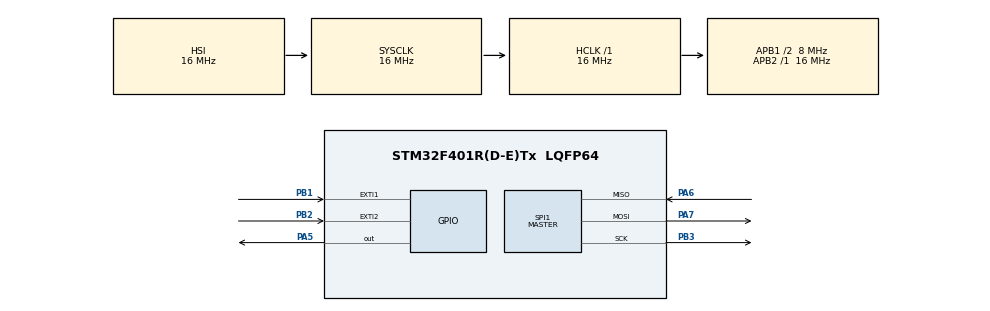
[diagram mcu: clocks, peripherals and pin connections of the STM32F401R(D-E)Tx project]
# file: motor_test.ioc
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Mcu.Family=STM32F4
Mcu.Name=STM32F401R(D-E)Tx
Mcu.Package=LQFP64
NVIC.EXTI1_IRQn=true\:0\:0\:false\:false\:true\:true\:true\:true
NVIC.EXTI2_IRQn=true\:0\:0\:false\:false\:true\:true\:true\:true
NVIC.PriorityGroup=NVIC_PRIORITYGROUP_4
NVIC.TIM2_IRQn=true\:0\:0\:false\:false\:true\:true\:true\:true
PA5.Signal=GPIO_Output
PA6.Mode=Full_Duplex_Master
PA6.Signal=SPI1_MISO
PA7.Mode=Full_Duplex_Master
PA7.Signal=SPI1_MOSI
PB1.GPIO_PuPd=GPIO_PULLUP
PB1.Signal=GPXTI1
PB2.GPIO_PuPd=GPIO_PULLUP
PB2.Signal=GPXTI2
PB3.Mode=Full_Duplex_Master
PB3.Signal=SPI1_SCK
ProjectManager.HeapSize=0x200
ProjectManager.StackSize=0x400
ProjectManager.TargetToolchain=STM32CubeIDE
RCC.48MHZClocksFreq_Value=36000000
RCC.AHBFreq_Value=16000000
RCC.APB1CLKDivider=RCC_HCLK_DIV2
RCC.APB1Freq_Value=8000000
RCC.APB1TimFreq_Value=16000000
RCC.APB2Freq_Value=16000000
RCC.APB2TimFreq_Value=16000000
RCC.CortexFreq_Value=16000000
RCC.HCLKFreq_Value=16000000
RCC.HSE_VALUE=25000000
RCC.HSI_VALUE=16000000
RCC.LSE_VALUE=32768
RCC.PLLM=8
RCC.PLLN=72
RCC.SYSCLKFreq_VALUE=16000000
RCC.VCOOutputFreq_Value=144000000
SPI1.BaudRatePrescaler=SPI_BAUDRATEPRESCALER_16
SPI1.CLKPhase=SPI_PHASE_1EDGE
SPI1.CLKPolarity=SPI_POLARITY_LOW
SPI1.Direction=SPI_DIRECTION_2LINES
SPI1.Mode=SPI_MODE_MASTER
SPI1.VirtualType=VM_MASTER
TIM2.AutoReloadPreload=TIM_AUTORELOAD_PRELOAD_ENABLE
TIM2.Period=100
TIM2.Prescaler=16000
VP_TIM2_VS_ClockSourceINT.Mode=Internal
board=custom

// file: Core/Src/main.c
/* USER CODE BEGIN Header */
/**
  ******************************************************************************
  * @file           : main.c
  * @brief          : Main program body
  ******************************************************************************
  * @attention
  *
  * Copyright (c) 2023 STMicroelectronics.
  * All rights reserved.
  *
  * This software is licensed under terms that can be found in the LICENSE file
  * in the root directory of this software component.
  * If no LICENSE file comes with this software, it is provided AS-IS.
  *
  ******************************************************************************
  */
/* USER CODE END Header */
#include "main.h"

/* USER CODE BEGIN Includes */
#include "l6474.h"
#include "x_nucleo_ihmxx.h"
#include "x_nucleo_ihm01a1_stm32f4xx.h"
/* USER CODE END Includes */

SPI_HandleTypeDef hspi1;

TIM_HandleTypeDef htim2;

void SystemClock_Config(void);
static void MX_GPIO_Init(void);
static void MX_TIM2_Init(void);
static void MX_SPI1_Init(void);
/* USER CODE BEGIN PFP */
void MyFlagInterruptHandler(void);
void ErrorHandler_Shield(uint16_t error);
/* USER CODE END PFP */

/* USER CODE BEGIN 0 */
static volatile uint16_t gLastError;

L6474_Init_t gL6474InitParams =
{
    160,                               /// Acceleration rate in step/s2. Range: (0..+inf).
    160,                               /// Deceleration rate in step/s2. Range: (0..+inf).
    30,                              /// Maximum speed in step/s. Range: (30..10000].
    30,                               ///Minimum speed in step/s. Range: [30..10000).
    250,                               ///Torque regulation current in mA. (TVAL register) Range: 31.25mA to 4000mA.
    750,                               ///Overcurrent threshold (OCD_TH register). Range: 375mA to 6000mA.
    L6474_CONFIG_OC_SD_ENABLE,         ///Overcurrent shutwdown (OC_SD field of CONFIG register).
    L6474_CONFIG_EN_TQREG_TVAL_USED,   /// Torque regulation method (EN_TQREG field of CONFIG register).
	L6474_STEP_SEL_1,//L6474_STEP_SEL_1_16,               /// Step selection (STEP_SEL field of STEP_MODE register).
    L6474_SYNC_SEL_1_2,                /// Sync selection (SYNC_SEL field of STEP_MODE register).
    L6474_FAST_STEP_12us,              /// Fall time value (T_FAST field of T_FAST register). Range: 2us to 32us.
    L6474_TOFF_FAST_8us,               /// Maximum fast decay time (T_OFF field of T_FAST register). Range: 2us to 32us.
    3,                                 /// Minimum ON time in us (TON_MIN register). Range: 0.5us to 64us.
    21,                                /// Minimum OFF time in us (TOFF_MIN register). Range: 0.5us to 64us.
    L6474_CONFIG_TOFF_044us,           /// Target Swicthing Period (field TOFF of CONFIG register).
    L6474_CONFIG_SR_320V_us,           /// Slew rate (POW_SR field of CONFIG register).
    L6474_CONFIG_INT_16MHZ,            /// Clock setting (OSC_CLK_SEL field of CONFIG register).
    (L6474_ALARM_EN_OVERCURRENT      |
     L6474_ALARM_EN_THERMAL_SHUTDOWN |
     L6474_ALARM_EN_THERMAL_WARNING  |
     L6474_ALARM_EN_UNDERVOLTAGE     |
     L6474_ALARM_EN_SW_TURN_ON       |
     L6474_ALARM_EN_WRONG_NPERF_CMD)    /// Alarm (ALARM_EN register).
};

/* USER CODE END 0 */

int main(void)
{

  /* MCU Configuration--------------------------------------------------------*/

  /* Reset of all peripherals, Initializes the Flash interface and the Systick. */
  HAL_Init();

  /* Configure the system clock */
  SystemClock_Config();

  /* Initialize all configured peripherals */
  MX_GPIO_Init();
  MX_TIM2_Init();
  MX_SPI1_Init();
  /* USER CODE BEGIN 2 */
  BSP_MotorControl_SetNbDevices(BSP_MOTOR_CONTROL_BOARD_ID_L6474, 1);         //Number of motors
  BSP_MotorControl_Init(BSP_MOTOR_CONTROL_BOARD_ID_L6474, &gL6474InitParams); //Initial parameters
  BSP_MotorControl_AttachFlagInterrupt(MyFlagInterruptHandler);               //Flag interrupt handler
  BSP_MotorControl_AttachErrorHandler(ErrorHandler_Shield);                   //Error handler

  BSP_MotorControl_Move(0, BACKWARD, 16000);
  /* USER CODE END 2 */

  /* Infinite loop */
  /* USER CODE BEGIN WHILE */
  while (1)
  {
	  BSP_MotorControl_Move(0, FORWARD, 50);

	  // Wait for the motor of device 0 ends moving
	  BSP_MotorControl_WaitWhileActive(0);

	  // Wait for 2 seconds
	  HAL_Delay(2000);

	  // Move device 0 in the BACKWARD direction
	  BSP_MotorControl_Move(0, BACKWARD, 50);

	  // Wait for the motor of device 0 ends moving
	  BSP_MotorControl_WaitWhileActive(0);
    /* USER CODE END WHILE */

  }
}

void SystemClock_Config(void)
{
  RCC_OscInitTypeDef RCC_OscInitStruct = {0};
  RCC_ClkInitTypeDef RCC_ClkInitStruct = {0};

  /** Configure the main internal regulator output voltage
  */
  __HAL_RCC_PWR_CLK_ENABLE();
  __HAL_PWR_VOLTAGESCALING_CONFIG(PWR_REGULATOR_VOLTAGE_SCALE2);

  /** Initializes the RCC Oscillators according to the specified parameters
  * in the RCC_OscInitTypeDef structure.
  */
  RCC_OscInitStruct.OscillatorType = RCC_OSCILLATORTYPE_HSI;
  RCC_OscInitStruct.HSIState = RCC_HSI_ON;
  RCC_OscInitStruct.HSICalibrationValue = RCC_HSICALIBRATION_DEFAULT;
  RCC_OscInitStruct.PLL.PLLState = RCC_PLL_NONE;
  if (HAL_RCC_OscConfig(&RCC_OscInitStruct) != HAL_OK)
  {
    Error_Handler();
  }

  /** Initializes the CPU, AHB and APB buses clocks
  */
  RCC_ClkInitStruct.ClockType = RCC_CLOCKTYPE_HCLK|RCC_CLOCKTYPE_SYSCLK
                              |RCC_CLOCKTYPE_PCLK1|RCC_CLOCKTYPE_PCLK2;
  RCC_ClkInitStruct.SYSCLKSource = RCC_SYSCLKSOURCE_HSI;
  RCC_ClkInitStruct.AHBCLKDivider = RCC_SYSCLK_DIV1;
  RCC_ClkInitStruct.APB1CLKDivider = RCC_HCLK_DIV2;
  RCC_ClkInitStruct.APB2CLKDivider = RCC_HCLK_DIV1;

  if (HAL_RCC_ClockConfig(&RCC_ClkInitStruct, FLASH_LATENCY_0) != HAL_OK)
  {
    Error_Handler();
  }
}

static void MX_SPI1_Init(void)
{

  /* SPI1 parameter configuration*/
  hspi1.Instance = SPI1;
  hspi1.Init.Mode = SPI_MODE_MASTER;
  hspi1.Init.Direction = SPI_DIRECTION_2LINES;
  hspi1.Init.DataSize = SPI_DATASIZE_8BIT;
  hspi1.Init.CLKPolarity = SPI_POLARITY_LOW;
  hspi1.Init.CLKPhase = SPI_PHASE_1EDGE;
  hspi1.Init.NSS = SPI_NSS_SOFT;
  hspi1.Init.BaudRatePrescaler = SPI_BAUDRATEPRESCALER_16;
  hspi1.Init.FirstBit = SPI_FIRSTBIT_MSB;
  hspi1.Init.TIMode = SPI_TIMODE_DISABLE;
  hspi1.Init.CRCCalculation = SPI_CRCCALCULATION_DISABLE;
  hspi1.Init.CRCPolynomial = 10;
  if (HAL_SPI_Init(&hspi1) != HAL_OK)
  {
    Error_Handler();
  }

}

static void MX_TIM2_Init(void)
{

  TIM_ClockConfigTypeDef sClockSourceConfig = {0};
  TIM_MasterConfigTypeDef sMasterConfig = {0};

  htim2.Instance = TIM2;
  htim2.Init.Prescaler = 16000;
  htim2.Init.CounterMode = TIM_COUNTERMODE_UP;
  htim2.Init.Period = 100;
  htim2.Init.ClockDivision = TIM_CLOCKDIVISION_DIV1;
  htim2.Init.AutoReloadPreload = TIM_AUTORELOAD_PRELOAD_ENABLE;
  if (HAL_TIM_Base_Init(&htim2) != HAL_OK)
  {
    Error_Handler();
  }
  sClockSourceConfig.ClockSource = TIM_CLOCKSOURCE_INTERNAL;
  if (HAL_TIM_ConfigClockSource(&htim2, &sClockSourceConfig) != HAL_OK)
  {
    Error_Handler();
  }
  sMasterConfig.MasterOutputTrigger = TIM_TRGO_RESET;
  sMasterConfig.MasterSlaveMode = TIM_MASTERSLAVEMODE_DISABLE;
  if (HAL_TIMEx_MasterConfigSynchronization(&htim2, &sMasterConfig) != HAL_OK)
  {
    Error_Handler();
  }

}

static void MX_GPIO_Init(void)
{
  GPIO_InitTypeDef GPIO_InitStruct = {0};

  /* GPIO Ports Clock Enable */
  __HAL_RCC_GPIOA_CLK_ENABLE();
  __HAL_RCC_GPIOB_CLK_ENABLE();

  /*Configure GPIO pin Output Level */
  HAL_GPIO_WritePin(GPIOA, GPIO_PIN_5, GPIO_PIN_RESET);

  /*Configure GPIO pin : PA5 */
  GPIO_InitStruct.Pin = GPIO_PIN_5;
  GPIO_InitStruct.Mode = GPIO_MODE_OUTPUT_PP;
  GPIO_InitStruct.Pull = GPIO_NOPULL;
  GPIO_InitStruct.Speed = GPIO_SPEED_FREQ_LOW;
  HAL_GPIO_Init(GPIOA, &GPIO_InitStruct);

  /*Configure GPIO pins : PB1 PB2 */
  GPIO_InitStruct.Pin = GPIO_PIN_1|GPIO_PIN_2;
  GPIO_InitStruct.Mode = GPIO_MODE_IT_RISING;
  GPIO_InitStruct.Pull = GPIO_PULLUP;
  HAL_GPIO_Init(GPIOB, &GPIO_InitStruct);

  /* EXTI interrupt init*/
  HAL_NVIC_SetPriority(EXTI1_IRQn, 0, 0);
  HAL_NVIC_EnableIRQ(EXTI1_IRQn);

  HAL_NVIC_SetPriority(EXTI2_IRQn, 0, 0);
  HAL_NVIC_EnableIRQ(EXTI2_IRQn);

}

/* USER CODE BEGIN 4 */
void HAL_GPIO_EXTI_Callback(uint16_t GPIO_Pin){

	if(GPIO_Pin == GPIO_PIN_2){ //Final de carrera de la izquierda
		BSP_MotorControl_HardStop(0); //Parada brusca motor
	}
	else if(GPIO_Pin == GPIO_PIN_1){ //Final de carrera derecho
		BSP_MotorControl_HardStop(0); //Parada brusca motor
	}
	else if (GPIO_Pin == BSP_MOTOR_CONTROL_BOARD_FLAG_PIN){
	    BSP_MotorControl_FlagInterruptHandler();
	}
}

void MyFlagInterruptHandler(void)
{
  /* Get the value of the status register via the L6474 command GET_STATUS */
  uint16_t statusRegister = BSP_MotorControl_CmdGetStatus(0);

  /* Check HIZ flag: if set, power brigdes are disabled */
  if ((statusRegister & L6474_STATUS_HIZ) == L6474_STATUS_HIZ)
  {
    // HIZ state
    // Action to be customized
  }

  /* Check direction bit */
  if ((statusRegister & L6474_STATUS_DIR) == L6474_STATUS_DIR)
  {
    // Forward direction is set
    // Action to be customized
  }
  else
  {
    // Backward direction is set
    // Action to be customized
  }

  /* Check NOTPERF_CMD flag: if set, the command received by SPI can't be performed */
  /* This often occures when a command is sent to the L6474 */
  /* while it is in HIZ state */
  if ((statusRegister & L6474_STATUS_NOTPERF_CMD) == L6474_STATUS_NOTPERF_CMD)
  {
      // Command received by SPI can't be performed
     // Action to be customized
  }

  /* Check WRONG_CMD flag: if set, the command does not exist */
  if ((statusRegister & L6474_STATUS_WRONG_CMD) == L6474_STATUS_WRONG_CMD)
  {
     //command received by SPI does not exist
     // Action to be customized
  }

  /* Check UVLO flag: if not set, there is an undervoltage lock-out */
  if ((statusRegister & L6474_STATUS_UVLO) == 0)
  {
     //undervoltage lock-out
     // Action to be customized
  }

  /* Check TH_WRN flag: if not set, the thermal warning threshold is reached */
  if ((statusRegister & L6474_STATUS_TH_WRN) == 0)
  {
    //thermal warning threshold is reached
    // Action to be customized
  }

  /* Check TH_SHD flag: if not set, the thermal shut down threshold is reached */
  if ((statusRegister & L6474_STATUS_TH_SD) == 0)
  {
    //thermal shut down threshold is reached
    // Action to be customized
  }

  /* Check OCD  flag: if not set, there is an overcurrent detection */
  if ((statusRegister & L6474_STATUS_OCD) == 0)
  {
    //overcurrent detection
    // Action to be customized
  }

}

/**
  * @brief  This function is executed in case of error occurrence.
  * @param  error number of the error
  * @retval None
  */
void ErrorHandler_Shield(uint16_t error)
{
  /* Backup error number */
  gLastError = error;

  /* Infinite loop */
  while(1)
  {
  }
}
/* USER CODE END 4 */

void Error_Handler(void)
{
  __disable_irq();
  while (1)
  {
  }
}
